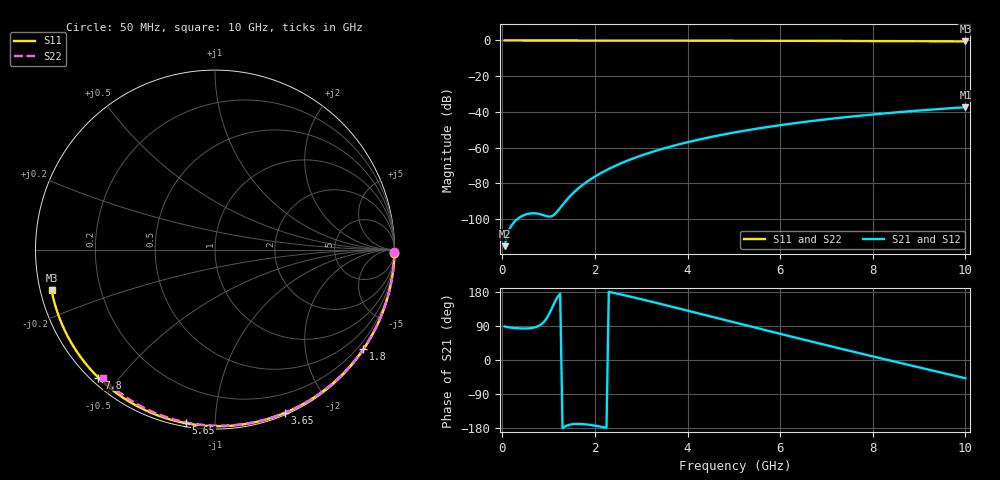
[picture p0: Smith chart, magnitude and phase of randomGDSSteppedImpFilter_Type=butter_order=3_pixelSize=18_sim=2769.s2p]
! freq	dB(S11)	phase(S11)	dB(S12)	phase(S12)
!  dB(S21)	phase(S21)	dB(S22)	phase(S22)
!S-par simulation data
#  GHz  S  DB  R 50
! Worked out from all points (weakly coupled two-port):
!   200 points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, 50 MHz to 10 GHz, reference 50 ohm
!   highest |S21| = -37.37 dB at 10 GHz (marker M1); lowest = -115.1 dB at 50 MHz (marker M2)
!   lowest |S11| = -0.6 dB at 10 GHz (marker M3), VSWR 31.39, Z = 1.62 - j6.15 ohm
!   |S11| at or under -10 dB: nowhere
!   |S22| runs from -0.4 to 0.0 dB; largest |S21 - S12| = 0
!   S11 on the Smith chart (normalised r, x): 50 MHz: open; 1.8 GHz: 0.03, -3.29; 3.65 GHz: 0.02, -1.52; 5.65 GHz: 0.02, -0.85; 7.8 GHz: 0.02, -0.44; 10 GHz: 0.03, -0.12
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0.05  -0.00 -1.0  -115.10 88.5  -115.10 88.5  -0.00 -0.8
0.45  -0.01 -8.6  -97.92 83.1  -97.92 83.1  -0.01 -6.8
0.85  -0.02 -16.2  -97.44 95.0  -97.44 95.0  -0.02 -12.8
1.3  -0.03 -24.6  -92.03 -179.5  -92.03 -179.5  -0.02 -19.5
1.75  -0.04 -32.9  -80.53 -169.3  -80.53 -169.3  -0.03 -26.2
1.8  -0.04 -33.9  -79.58 -169.9  -79.58 -169.9  -0.03 -26.9
2.1  -0.05 -39.3  -74.62 -175.3  -74.62 -175.3  -0.04 -31.3
2.3  -0.06 -43.0  -71.88 179.9  -71.88 179.9  -0.04 -34.2
2.5  -0.06 -46.6  -69.45 174.7  -69.45 174.7  -0.05 -37.1
2.9  -0.07 -53.7  -65.31 163.4  -65.31 163.4  -0.06 -42.8
3.4  -0.08 -62.4  -61.07 148.6  -61.07 148.6  -0.07 -49.8
3.65  -0.09 -66.7  -59.24 141.0  -59.24 141.0  -0.07 -53.3
4.35  -0.11 -78.5  -54.86 119.6  -54.86 119.6  -0.09 -62.8
5.05  -0.14 -89.9  -51.31 98.1  -51.31 98.1  -0.11 -72.1
5.65  -0.17 -99.4  -48.73 79.7  -48.73 79.7  -0.13 -79.9
6.15  -0.19 -107.2  -46.86 64.5  -46.86 64.5  -0.15 -86.2
6.7  -0.23 -115.7  -45.02 48.0  -45.02 48.0  -0.18 -92.9
7.25  -0.27 -124.0  -43.38 31.6  -43.38 31.6  -0.21 -99.6
7.8  -0.31 -132.3  -41.91 15.4  -41.91 15.4  -0.25 -106.1
8.35  -0.36 -140.6  -40.60 -0.7  -40.60 -0.7  -0.29 -112.5
9.2  -0.45 -153.5  -38.81 -25.2  -38.81 -25.2  -0.36 -122.2
10  -0.55 -166.0  -37.37 -48.1  -37.37 -48.1  -0.44 -131.3
